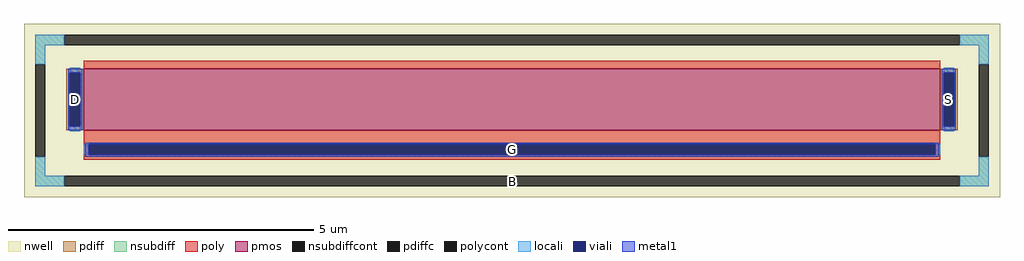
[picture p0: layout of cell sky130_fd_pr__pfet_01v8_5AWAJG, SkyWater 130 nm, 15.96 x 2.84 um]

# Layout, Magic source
magic
tech sky130A
magscale 1 2
<< nwell >>
rect -1596 -284 1596 284
<< pmos >>
rect -1400 -64 1400 136
<< pdiff >>
rect -1458 124 -1400 136
rect -1458 -52 -1446 124
rect -1412 -52 -1400 124
rect -1458 -64 -1400 -52
rect 1400 124 1458 136
rect 1400 -52 1412 124
rect 1446 -52 1458 124
rect 1400 -64 1458 -52
<< pdiffc >>
rect -1446 -52 -1412 124
rect 1412 -52 1446 124
<< nsubdiff >>
rect -1560 214 -1464 248
rect 1464 214 1560 248
rect -1560 151 -1526 214
rect 1526 151 1560 214
rect -1560 -214 -1526 -151
rect 1526 -214 1560 -151
rect -1560 -248 -1464 -214
rect 1464 -248 1560 -214
<< nsubdiffcont >>
rect -1464 214 1464 248
rect -1560 -151 -1526 151
rect 1526 -151 1560 151
rect -1464 -248 1464 -214
<< poly >>
rect -1400 136 1400 162
rect -1400 -111 1400 -64
rect -1400 -145 -1384 -111
rect 1384 -145 1400 -111
rect -1400 -161 1400 -145
<< polycont >>
rect -1384 -145 1384 -111
<< locali >>
rect -1560 214 -1464 248
rect 1464 214 1560 248
rect -1560 151 -1526 214
rect 1526 151 1560 214
rect -1446 124 -1412 140
rect -1446 -68 -1412 -52
rect 1412 124 1446 140
rect 1412 -68 1446 -52
rect -1400 -145 -1384 -111
rect 1384 -145 1400 -111
rect -1560 -214 -1526 -151
rect 1526 -214 1560 -151
rect -1560 -248 -1464 -214
rect 1464 -248 1560 -214
<< viali >>
rect -1446 -52 -1412 124
rect 1412 -52 1446 124
rect -1384 -145 1384 -111
<< metal1 >>
rect -1452 124 -1406 136
rect -1452 -52 -1446 124
rect -1412 -52 -1406 124
rect -1452 -64 -1406 -52
rect 1406 124 1452 136
rect 1406 -52 1412 124
rect 1446 -52 1452 124
rect 1406 -64 1452 -52
rect -1396 -111 1396 -105
rect -1396 -145 -1384 -111
rect 1384 -145 1396 -111
rect -1396 -151 1396 -145
<< labels >>
rlabel nsubdiffcont 0 -231 0 -231 0 B
port 1 nsew
rlabel pdiffc -1429 36 -1429 36 0 D
port 2 nsew
rlabel pdiffc 1429 36 1429 36 0 S
port 3 nsew
rlabel polycont 0 -128 0 -128 0 G
port 4 nsew
<< properties >>
string FIXED_BBOX -1543 -231 1543 231
string gencell sky130_fd_pr__pfet_01v8
string library sky130
string parameters w 1 l 14 m 1 nf 1 diffcov 100 polycov 100 guard 1 glc 1 grc 1 gtc 1 gbc 1 tbcov 100 rlcov 100 topc 0 botc 1 poverlap 0 doverlap 1 lmin 0.15 wmin 0.42 class mosfet compatible {sky130_fd_pr__pfet_01v8  sky130_fd_pr__pfet_01v8_lvt sky130_fd_pr__pfet_01v8_hvt  sky130_fd_pr__pfet_g5v0d10v5} full_metal 1 conn_gates 0 viasrc 100 viadrn 100 viagate 100 viagb 0 viagr 0 viagl 0 viagt 0 doports 1
<< end >>
